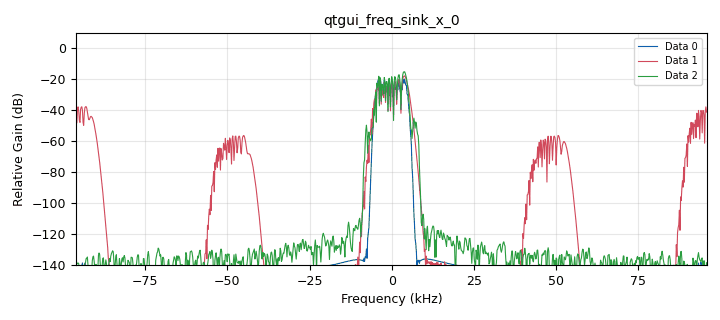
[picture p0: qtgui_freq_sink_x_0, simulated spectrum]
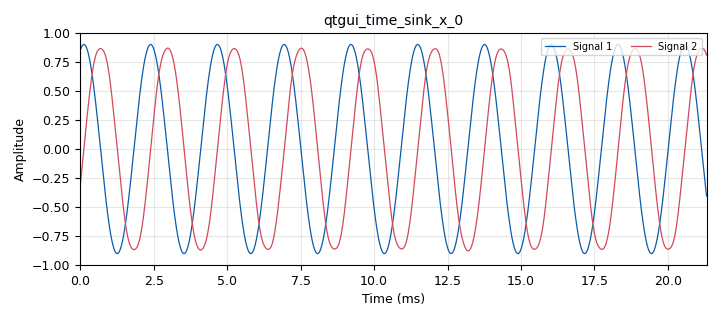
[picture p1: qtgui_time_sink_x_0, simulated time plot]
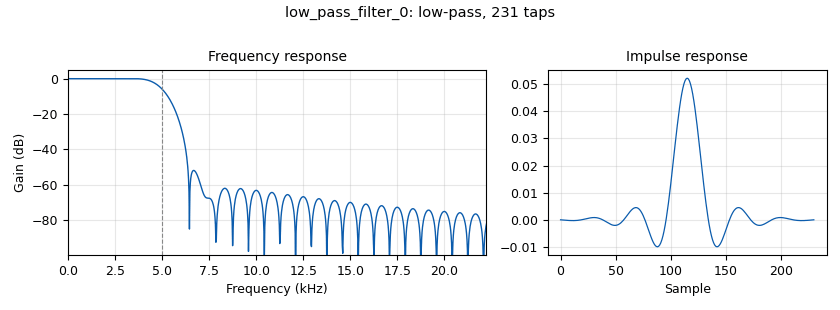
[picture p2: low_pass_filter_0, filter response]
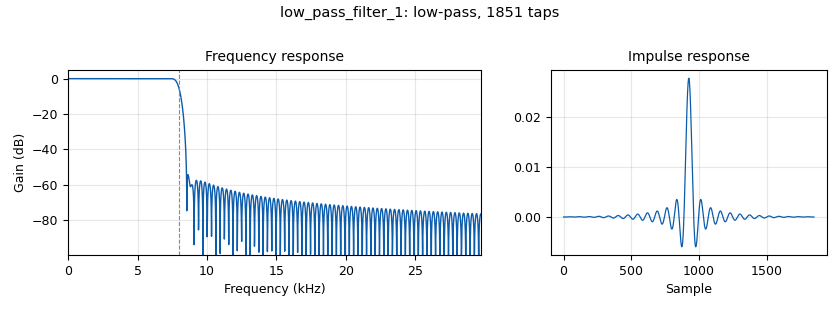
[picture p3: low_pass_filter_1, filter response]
options:
  parameters:
    author: Barry Duggan
    description: NBFM transmitter
    generate_options: qt_gui
    id: NFM_xmt
    output_language: python
    title: NFM_xmt
  states: {}

blocks:
- name: df
  id: variable_qtgui_range
  parameters:
    start: '0'
    step: '0.001'
    stop: '0.02'
    value: '0'
  states: {}
- name: freq
  id: variable_qtgui_range
  parameters:
    start: '0'
    step: '1'
    stop: samp_rate/2
    value: '440'
  states: {}
- name: if_rate
  id: variable
  parameters:
    value: int(usrp_rate/3)
  states: {}
- name: noise
  id: variable_qtgui_range
  parameters:
    start: '0'
    step: '0.01'
    stop: '2'
    value: '0.3'
  states: {}
- name: samp_rate
  id: variable
  parameters:
    value: '48000'
  states: {}
- name: usrp_rate
  id: variable
  parameters:
    value: '576000'
  states: {}
- name: analog_nbfm_rx_0
  id: analog_nbfm_rx
  parameters:
    audio_rate: '48000'
    max_dev: 5e3
    quad_rate: if_rate
    tau: '75e-6'
  states: {}
- name: analog_nbfm_tx_0
  id: analog_nbfm_tx
  parameters:
    audio_rate: samp_rate
    fh: '-1.0'
    max_dev: 5e3
    quad_rate: if_rate
    tau: '75e-6'
  states: {}
- name: analog_sig_source_x_1
  id: analog_sig_source_x
  parameters:
    amp: '0.9'
    freq: freq
    offset: '0'
    phase: '0'
    samp_rate: samp_rate
    type: float
    waveform: analog.GR_COS_WAVE
  states: {}
- name: blocks_repeat_0_0
  id: blocks_repeat
  parameters:
    interp: (int)(usrp_rate/if_rate)
    type: complex
  states: {}
- name: blocks_throttle_0
  id: blocks_throttle
  parameters:
    samples_per_second: usrp_rate
    type: complex
  states: {}
- name: channels_channel_model_0
  id: channels_channel_model
  parameters:
    epsilon: '1.0'
    freq_offset: df
    noise_voltage: noise
    seed: '0'
    taps: 1.0 + 1.0j
  states: {}
- name: low_pass_filter_0
  id: low_pass_filter
  parameters:
    cutoff_freq: '5000'
    decim: '1'
    gain: '1'
    samp_rate: if_rate
    type: fir_filter_ccf
    width: '2000'
    win: window.WIN_HAMMING
  states: {}
- name: low_pass_filter_1
  id: low_pass_filter
  parameters:
    cutoff_freq: samp_rate/6
    decim: int(usrp_rate/if_rate)
    gain: '1'
    samp_rate: usrp_rate
    type: fir_filter_ccf
    width: samp_rate/64
    win: window.WIN_HAMMING
  states: {}
- name: qtgui_freq_sink_x_0
  id: qtgui_freq_sink_x
  parameters:
    bw: if_rate
    fc: '0'
    fftsize: '1024'
    nconnections: '3'
    type: complex
  states: {}
- name: qtgui_time_sink_x_0
  id: qtgui_time_sink_x
  parameters:
    nconnections: '2'
    size: '1024'
    srate: samp_rate
    type: float
  states: {}
- name: virtual_sink_0
  id: virtual_sink
  parameters:
    stream_id: tag1
  states: {}
- name: virtual_source_0
  id: virtual_source
  parameters:
    stream_id: tag1
  states: {}

connections:
- [analog_nbfm_rx_0, '0', qtgui_time_sink_x_0, '1']
- [analog_nbfm_tx_0, '0', low_pass_filter_0, '0']
- [analog_nbfm_tx_0, '0', qtgui_freq_sink_x_0, '1']
- [analog_sig_source_x_1, '0', analog_nbfm_tx_0, '0']
- [analog_sig_source_x_1, '0', qtgui_time_sink_x_0, '0']
- [blocks_repeat_0_0, '0', virtual_sink_0, '0']
- [blocks_throttle_0, '0', channels_channel_model_0, '0']
- [channels_channel_model_0, '0', low_pass_filter_1, '0']
- [low_pass_filter_0, '0', blocks_repeat_0_0, '0']
- [low_pass_filter_0, '0', qtgui_freq_sink_x_0, '0']
- [low_pass_filter_1, '0', analog_nbfm_rx_0, '0']
- [low_pass_filter_1, '0', qtgui_freq_sink_x_0, '2']
- [virtual_source_0, '0', blocks_throttle_0, '0']

metadata:
  file_format: 1
  grc_version: 3.10.5.1
